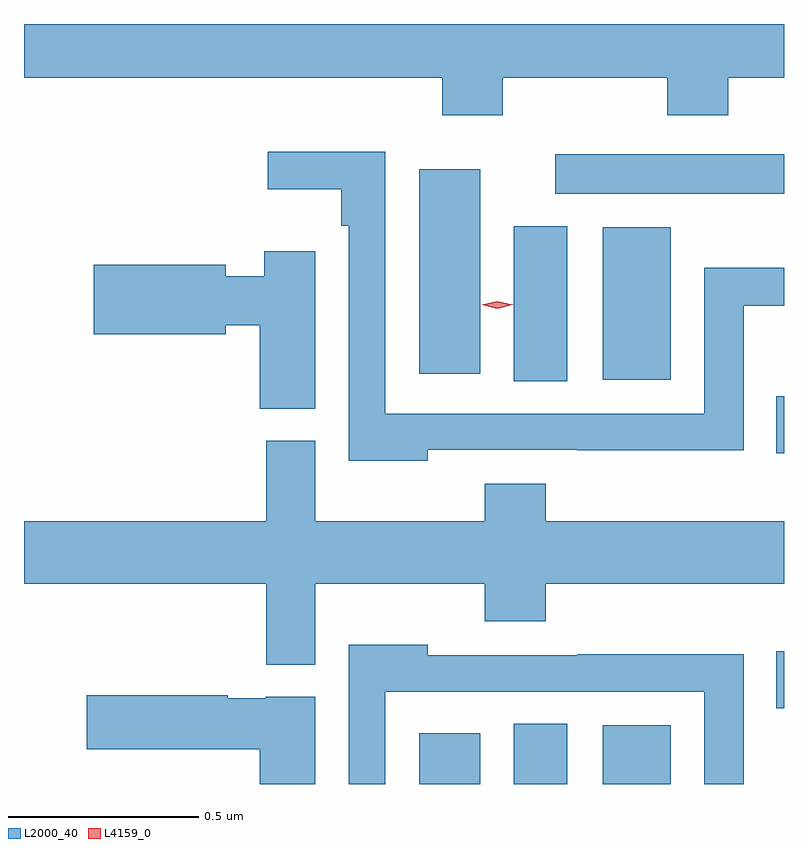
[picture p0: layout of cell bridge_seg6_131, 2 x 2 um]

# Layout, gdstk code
import gdstk
lib = gdstk.Library(unit=1e-6, precision=1e-09)
def R(c, l, rs):  # rectangles x0, y0, x1, y1
    for r in rs: c.add(gdstk.rectangle(r[:2], r[2:], *l))
def P(c, l, *ps):  # polygons
    for p in ps: c.add(gdstk.Polygon(p, *l))
L2000_40 = (2000, 40)
L4159_0 = (4159, 0)

bridge_seg6_131 = lib.new_cell('bridge_seg6_131')
R(bridge_seg6_131, L2000_40, [(395.315,988.101,395.476,988.234), (395.564,988.101,395.704,988.259), (395.798,988.101,395.977,988.255), (396.254,988.3,396.275,988.45), (396.254,988.971,396.275,989.121), (395.564,989.161,395.704,989.569), (395.798,989.165,395.977,989.566), (395.315,989.181,395.476,989.719), (395.673,989.654,396.275,989.758)])
P(bridge_seg6_131, L2000_40, [(395.535,989.96),(395.968,989.96),(395.968,989.861),(396.128,989.861),(396.128,989.96),(396.275,989.96),(396.275,990.101),(394.275,990.101),(394.275,989.96),(395.375,989.96),(395.375,989.861),(395.535,989.861)],
  [(395.337,988.98),(395.731,988.98),(395.731,988.979),(396.169,988.979),(396.169,989.359),(396.275,989.359),(396.275,989.459),(396.065,989.459),(396.065,989.076),(395.226,989.076),(395.226,989.765),(394.917,989.765),(394.917,989.666),(395.11,989.666),(395.11,989.57),(395.13,989.57),(395.13,988.952),(395.337,988.952)],
  [(395.041,989.503),(394.907,989.503),(394.907,989.437),(394.806,989.437),(394.806,989.468),(394.458,989.468),(394.458,989.285),(394.806,989.285),(394.806,989.308),(394.895,989.308),(394.895,989.089),(395.041,989.089)],
  [(395.041,988.628),(395.488,988.628),(395.488,988.529),(395.648,988.529),(395.648,988.628),(396.275,988.628),(396.275,988.792),(395.648,988.792),(395.648,988.891),(395.488,988.891),(395.488,988.792),(395.041,988.792),(395.041,989.004),(394.913,989.004),(394.913,988.792),(394.275,988.792),(394.275,988.628),(394.913,988.628),(394.913,988.415),(395.041,988.415)],
  [(395.226,988.344),(396.065,988.344),(396.065,988.101),(396.169,988.101),(396.169,988.442),(395.731,988.442),(395.731,988.44),(395.337,988.44),(395.337,988.468),(395.13,988.468),(395.13,988.101),(395.226,988.101)],
  [(395.041,988.33),(394.911,988.33),(394.911,988.327),(394.811,988.327),(394.811,988.335),(394.44,988.335),(394.44,988.193),(394.895,988.193),(394.895,988.101),(395.041,988.101)])
P(bridge_seg6_131, L4159_0, [(395.52,989.352),(395.479,989.362),(395.479,989.362),(395.479,989.362),(395.52,989.372),(395.561,989.362),(395.562,989.362),(395.561,989.362)])

lib.write_gds('bridge_seg6_131.gds')
